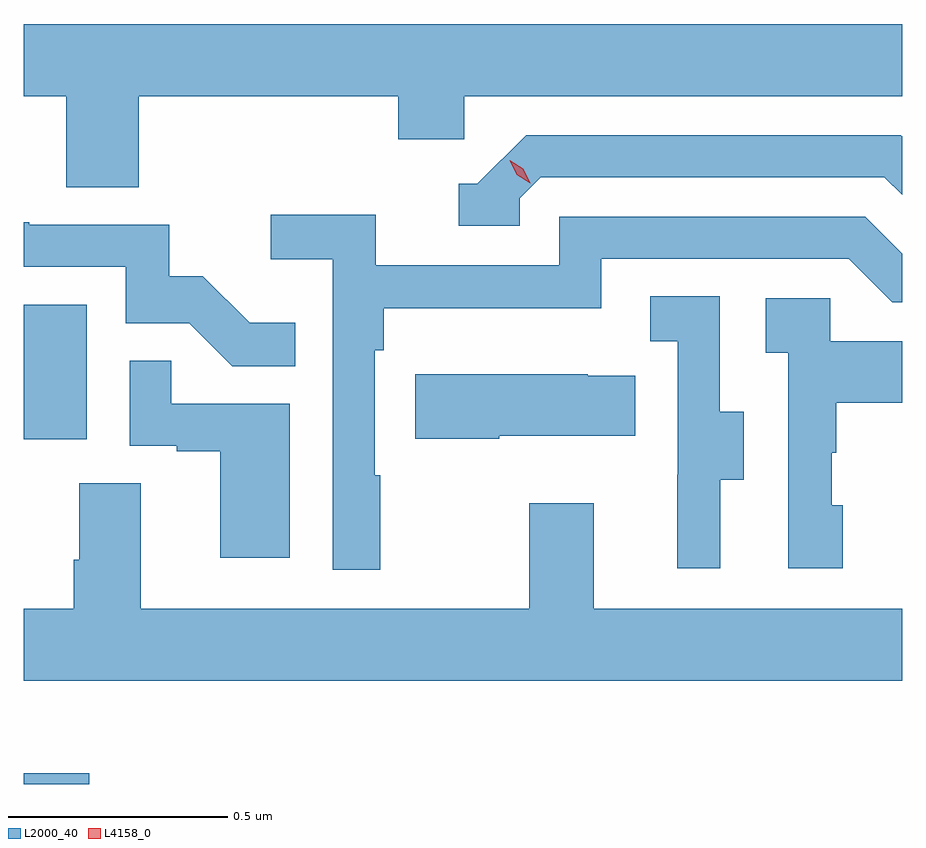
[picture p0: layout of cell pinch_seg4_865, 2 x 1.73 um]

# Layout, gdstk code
import gdstk
lib = gdstk.Library(unit=1e-6, precision=1e-09)
def R(c, l, rs):  # rectangles x0, y0, x1, y1
    for r in rs: c.add(gdstk.rectangle(r[:2], r[2:], *l))
def P(c, l, *ps):  # polygons
    for p in ps: c.add(gdstk.Polygon(p, *l))
L2000_40 = (2000, 40)
L4158_0 = (4158, 0)

pinch_seg4_865 = lib.new_cell('pinch_seg4_865')
R(pinch_seg4_865, L2000_40, [(881.069,800.581,881.218,800.605), (881.069,801.366,881.212,801.673)])
P(pinch_seg4_865, L2000_40, [(881.33,802.148),(881.921,802.148),(881.921,802.05),(882.072,802.05),(882.072,802.148),(883.069,802.148),(883.069,802.312),(881.069,802.312),(881.069,802.148),(881.165,802.148),(881.165,801.94),(881.33,801.94)],
  [(882.198,801.915),(882.246,801.963),(883.029,801.963),(883.069,801.923),(883.069,802.056),(883.066,802.059),(882.213,802.059),(882.102,801.948),(882.059,801.948),(882.059,801.852),(882.198,801.852)],
  [(881.881,801.284),(881.868,801.284),(881.868,801.569),(881.888,801.569),(881.888,801.665),(882.384,801.665),(882.384,801.777),(882.948,801.777),(883.047,801.678),(883.069,801.678),(883.069,801.789),(882.985,801.873),(882.288,801.873),(882.288,801.762),(881.87,801.762),(881.87,801.878),(881.631,801.878),(881.631,801.776),(881.772,801.776),(881.772,801.069),(881.881,801.069)],
  [(881.687,801.631),(881.583,801.631),(881.476,801.738),(881.4,801.738),(881.4,801.855),(881.081,801.855),(881.081,801.86),(881.069,801.86),(881.069,801.759),(881.301,801.759),(881.301,801.63),(881.445,801.63),(881.543,801.532),(881.687,801.532)],
  [(882.655,801.274),(882.709,801.274),(882.709,801.429),(882.654,801.429),(882.654,801.692),(882.495,801.692),(882.495,801.589),(882.558,801.589),(882.558,801.285),(882.557,801.285),(882.557,801.072),(882.655,801.072)],
  [(882.934,801.216),(882.909,801.216),(882.909,801.335),(882.919,801.335),(882.919,801.449),(883.069,801.449),(883.069,801.589),(882.906,801.589),(882.906,801.687),(882.759,801.687),(882.759,801.563),(882.81,801.563),(882.81,801.072),(882.934,801.072)],
  [(881.674,801.447),(881.405,801.447),(881.405,801.545),(881.31,801.545),(881.31,801.351),(881.417,801.351),(881.417,801.339),(881.516,801.339),(881.516,801.096),(881.674,801.096)],
  [(882.151,801.374),(882.461,801.374),(882.461,801.511),(882.353,801.511),(882.353,801.514),(881.96,801.514),(881.96,801.367),(882.151,801.367)],
  [(883.069,800.98),(882.367,800.98),(882.367,801.22),(882.22,801.22),(882.22,800.98),(881.335,800.98),(881.335,801.266),(881.195,801.266),(881.195,801.092),(881.183,801.092),(881.183,800.98),(881.069,800.98),(881.069,800.816),(883.069,800.816)])
P(pinch_seg4_865, L4158_0, [(882.222,801.949),(882.191,801.969),(882.176,802.002),(882.176,802.002),(882.176,802.002),(882.206,801.982),(882.222,801.949),(882.222,801.949)])

lib.write_gds('pinch_seg4_865.gds')
